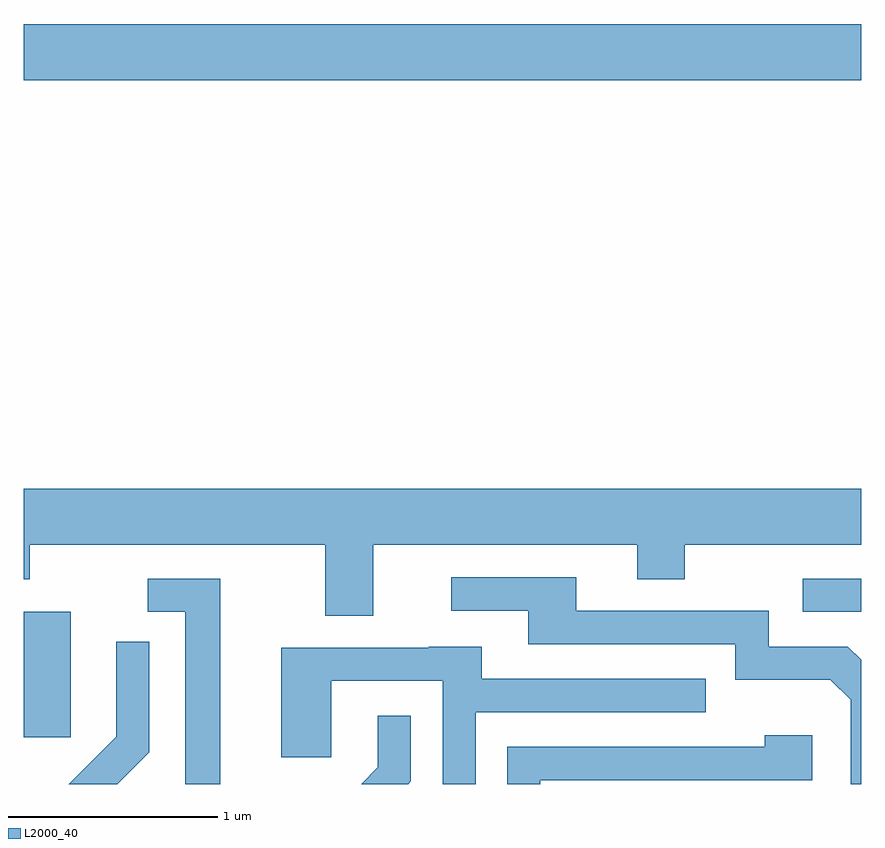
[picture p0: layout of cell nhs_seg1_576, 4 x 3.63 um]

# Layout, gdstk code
import gdstk
lib = gdstk.Library(unit=1e-6, precision=1e-09)
def R(c, l, rs):  # rectangles x0, y0, x1, y1
    for r in rs: c.add(gdstk.rectangle(r[:2], r[2:], *l))
def P(c, l, *ps):  # polygons
    for p in ps: c.add(gdstk.Polygon(p, *l))
L2000_40 = (2000, 40)

nhs_seg1_576 = lib.new_cell('nhs_seg1_576')
R(nhs_seg1_576, L2000_40, [(201.611,951.936,201.834,952.534), (205.333,952.536,205.611,952.694), (201.611,955.076,205.611,955.344)])
P(nhs_seg1_576, L2000_40, [(203.279,952.856),(204.541,952.856),(204.541,952.691),(204.769,952.691),(204.769,952.856),(205.611,952.856),(205.611,953.124),(201.611,953.124),(201.611,952.691),(201.639,952.691),(201.639,952.856),(203.051,952.856),(203.051,952.516),(203.279,952.516)],
  [(205.611,952.305),(205.547,952.369),(205.169,952.369),(205.169,952.539),(204.249,952.539),(204.249,952.699),(203.653,952.699),(203.653,952.541),(204.021,952.541),(204.021,952.381),(205.011,952.381),(205.011,952.211),(205.464,952.211),(205.561,952.114),(205.561,951.712),(205.611,951.712)],
  [(202.549,952.694),(202.203,952.694),(202.203,952.536),(202.381,952.536),(202.381,951.712),(202.549,951.712)],
  [(202.209,951.864),(202.209,952.393),(202.051,952.393),(202.051,951.937),(201.826,951.712),(202.057,951.712)],
  [(203.769,952.056),(204.868,952.056),(204.868,952.214),(203.799,952.214),(203.799,952.369),(203.545,952.369),(203.545,952.364),(202.841,952.364),(202.841,951.841),(203.079,951.841),(203.079,952.206),(203.611,952.206),(203.611,951.712),(203.769,951.712)],
  [(203.459,951.724),(203.459,952.038),(203.301,952.038),(203.301,951.792),(203.222,951.712),(203.447,951.712)],
  [(204.079,951.731),(205.379,951.731),(205.379,951.944),(205.151,951.944),(205.151,951.889),(203.921,951.889),(203.921,951.712),(204.079,951.712)])

lib.write_gds('nhs_seg1_576.gds')
